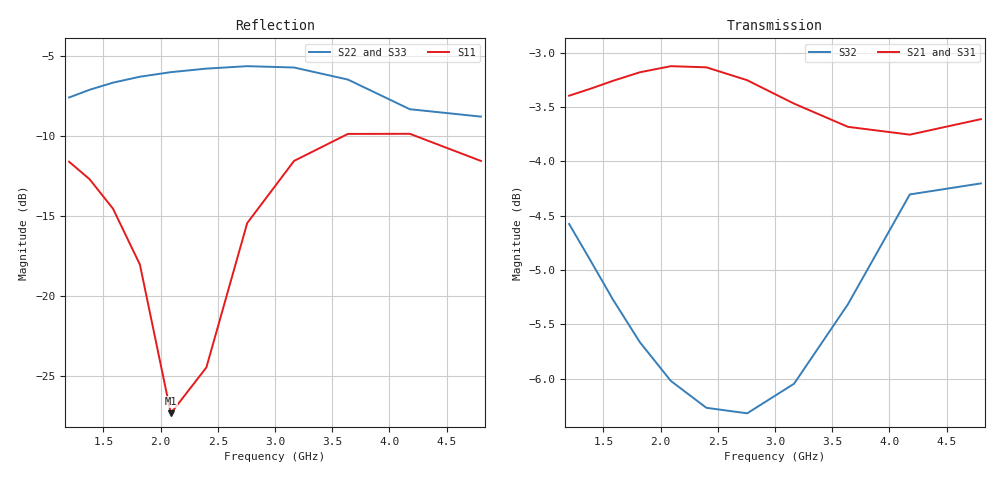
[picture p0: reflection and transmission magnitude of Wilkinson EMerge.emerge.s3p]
! Generated by circuitRF - EM: EMerge
! circuitRF-EM setup: Wilkinson EMerge
! circuitRF-EM layout: Wilkinson.c3d
! circuitRF-EM written: 2026-11-15 21:50:47Z
! circuitRF-EM stamp: 20261115T215047Z-72d82149
! circuitRF-EM geometry: f1403c97ede56f21
! circuitRF-EM mesh settings: 052857159ca3006f
! circuitRF-EM ports: f234bb7d2ddfce0d
! circuitRF-EM model: EMerge 3.0.0
! Port[1] = P1
! Port[2] = P2
! Port[3] = P3
! circuitRF-EM port 1: 'port/1' from 'U1/Bottom Copper (1 oz)/1' to 'U1/Top Copper (1 oz)/1', lumped, 50 Ohm
! circuitRF-EM port 2: 'port/2' from 'U1/Bottom Copper (1 oz)/1' to 'U1/Top Copper (1 oz)/1', lumped, 50 Ohm
! circuitRF-EM port 3: 'port/3' from 'U1/Bottom Copper (1 oz)/1' to 'U1/Top Copper (1 oz)/1', lumped, 50 Ohm
! Port 1 = P01  P1  net=?  ref=U1/Bottom Copper (1 oz)/1  uncalibrated
! Port 2 = P02  P2  net=?  ref=U1/Bottom Copper (1 oz)/1  uncalibrated
! Port 3 = P03  P3  net=?  ref=U1/Bottom Copper (1 oz)/1  uncalibrated
! DC: none, the lowest row is 1.2 GHz; a circuit's DC solve through this file takes that row as DC
! circuitRF-EM 3D mesh: 11033 tetrahedra, element order 2
! circuitRF-EM 3D operating temperature: 20 C
! circuitRF-EM 3D run: preset Draft; 11033 tetrahedra; 79972 unknowns; adaptive sweep, 11 frequency sample(s), estimated error 0.000215
! circuitRF-EM 3D run cost: wall 53 s; EMerge peak memory 1.7 GB
! circuitRF-EM: re-running the EM setup rewrites this file. If circuitRF reports it as stale, the layout's cross-section changed after this file was written.
# GHz S RI R 50
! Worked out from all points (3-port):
!   11 points, 1.2 GHz to 4.8 GHz, reference 50 ohm
!   strongest paths, dB at 1.2 GHz, 1.583 GHz, 2.4 GHz, 3.638 GHz, 4.8 GHz:
!     S21: -3.4, -3.3, -3.1, -3.7, -3.6
!     S31: -3.4, -3.3, -3.1, -3.6, -3.5
!     S32: -4.6, -5.3, -6.3, -5.3, -4.2
!   lowest |S11| = -27.3 dB at 2.089 GHz (marker M1), VSWR 1.09, Z = 51.7 + j4.02 ohm
!   |S11| at or under -10 dB: start of sweep to 3.599 GHz; 4.232 GHz to end of sweep
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1.2  -0.1579 0.2103  -0.00331 -0.6764  -0.00253 -0.6757
     -0.00319 -0.6765  0.4118 -0.0697  -0.5706 -0.152
     -0.00242 -0.6757  -0.5706 -0.1519  0.4133 -0.0683
1.378438  -0.1048 0.2071  -0.1636 -0.6613  -0.1624 -0.6608
          -0.1635 -0.6613  0.3702 -0.2402  -0.5617 0.0911
          -0.1623 -0.6608  -0.5617 0.0911  0.3723 -0.2391
1.81886  0.00313 0.1256  -0.5165 -0.4628  -0.5149 -0.4638
         -0.5163 -0.4629  0.0694 -0.4799  -0.2056 0.4787
         -0.5148 -0.4639  -0.2055 0.4787  0.0722 -0.4801
2.089321  0.0187 0.0388  -0.6542 -0.2432  -0.6532 -0.2451
          -0.6541 -0.2434  -0.1433 -0.4801  0.0921 0.4915
          -0.6532 -0.2453  0.0921 0.4915  -0.1405 -0.4812
2.4  -0.0303 -0.0516  -0.695 0.0542  -0.6953 0.0518
     -0.695 0.054  -0.3461 -0.38  0.3622 0.3241
     -0.6953 0.0516  0.3622 0.3241  -0.3433 -0.3822
2.756876  -0.1469 -0.0838  -0.5777 0.373  -0.5797 0.3709
          -0.5779 0.3727  -0.4939 -0.1722  0.4832 0.000968
          -0.5799 0.3707  0.4832 0.000958  -0.4918 -0.1762
3.166819  -0.2646 0.0015  -0.2867 0.6064  -0.2902 0.6063
          -0.287 0.6063  -0.4986 0.1408  0.3418 -0.3629
          -0.2905 0.6062  0.3418 -0.3629  -0.4986 0.1345
3.63772  -0.2669 0.1789  0.1159 0.6441  0.1129 0.6479
         0.1156 0.6442  -0.2045 0.4287  -0.109 -0.5313
         0.1126 0.648  -0.109 -0.5313  -0.2104 0.4213
4.178643  -0.0981 0.3063  0.4997 0.4142  0.5039 0.42
          0.4995 0.4145  0.3083 0.2285  -0.6021 -0.093
          0.5037 0.4203  -0.6021 -0.093  0.2938 0.2282
4.8  0.1209 0.2354  0.6548 -0.0805  0.6622 -0.0881
     0.655 -0.0801  0.0328 -0.3624  -0.0815 0.611
     0.6624 -0.0877  -0.0815 0.611  0.0236 -0.347
